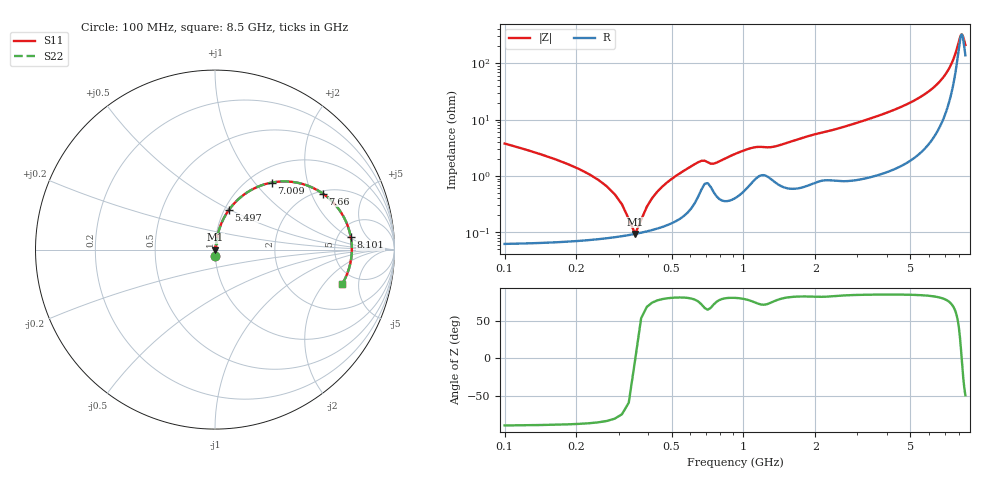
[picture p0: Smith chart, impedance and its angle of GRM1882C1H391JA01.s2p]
!Murata Part Number: GRM1882C1H391JA01
!These Parameters are Measured in Series Mode Connection
!Data Generated on Mar 30, 2021
!  o--ll--o
!Port1  Port2
!  o------o
!Operation Temp=25[degC], DC Bias Voltage=0[V]
!Freq. Start=100[MHz] Stop=9[GHz] 401[Steps]
# Hz S RI R 50
!Freq.(Hz) S11(Real) S11(Imag) S21(Real) S21(Imag) S12(Real) S12(Imag) S22(Real) S22(Imag)
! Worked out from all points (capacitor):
!   401 points, 100 MHz to 8.5 GHz, reference 50 ohm
!   read as one part in series: C = 389 pF near 142 MHz
!   lowest |Z| = 94.1 mohm at 352 MHz (marker M1)
!   series resonance near 352.5 MHz, so ESL is about 520 pH
!   S11 on the Smith chart (normalised r, x): 100 MHz: 1.00, -0.08; 5.497 GHz: 1.05, +0.50; 7.009 GHz: 1.25, +1.23; 7.66 GHz: 2.11, +2.43; 8.101 GHz: 6.57, +2.20; 8.5 GHz: 3.74, -3.14
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1e8  0.00203 -0.0375  0.998 0.0375  0.998 0.0375  0.00203 -0.0375
2.26e8  0.000846 -0.0107  0.9992 0.0107  0.9992 0.0107  0.000846 -0.0107
2.68e8  0.00083 -0.00648  0.9992 0.00648  0.9992 0.00648  0.00083 -0.00648
3.1e8  0.000866 -0.00302  0.9991 0.00302  0.9991 0.00302  0.000866 -0.00302
3.52e8  0.00094 -3.13e-05  0.9991 3.13e-05  0.9991 3.13e-05  0.00094 -3.13e-05
3.94e8  0.00105 0.00265  0.999 -0.00265  0.999 -0.00265  0.00105 0.00265
4.36e8  0.0012 0.00513  0.9988 -0.00513  0.9988 -0.00513  0.0012 0.00513
4.78e8  0.00139 0.00748  0.9986 -0.00748  0.9986 -0.00748  0.00139 0.00748
6.46e8  0.00454 0.0168  0.9955 -0.0168  0.9955 -0.0168  0.00454 0.0168
7.72e8  0.0046 0.0165  0.9954 -0.0165  0.9954 -0.0165  0.0046 0.0165
1.087e9  0.0085 0.0301  0.9915 -0.0301  0.9915 -0.0301  0.0085 0.0301
1.507e9  0.00748 0.0372  0.9925 -0.0372  0.9925 -0.0372  0.00748 0.0372
2.914e9  0.0151 0.0822  0.9849 -0.0822  0.9849 -0.0822  0.0151 0.0822
4.3e9  0.0341 0.1424  0.9659 -0.1424  0.9659 -0.1424  0.0341 0.1424
5.497e9  0.0786 0.2228  0.9214 -0.2228  0.9214 -0.2228  0.0786 0.2228
5.707e9  0.0929 0.2413  0.9071 -0.2413  0.9071 -0.2413  0.0929 0.2413
7.009e9  0.3165 0.3735  0.6835 -0.3735  0.6835 -0.3735  0.3165 0.3735
7.114e9  0.3534 0.3784  0.6466 -0.3784  0.6466 -0.3784  0.3534 0.3784
7.66e9  0.6011 0.312  0.3989 -0.312  0.3989 -0.312  0.6011 0.312
8.101e9  0.7563 0.0708  0.2437 -0.0708  0.2437 -0.0708  0.7563 0.0708
8.248e9  0.7608 -0.0334  0.2392 0.0334  0.2392 0.0334  0.7608 -0.0334
8.5e9  0.7071 -0.1941  0.2929 0.1941  0.2929 0.1941  0.7071 -0.1941
